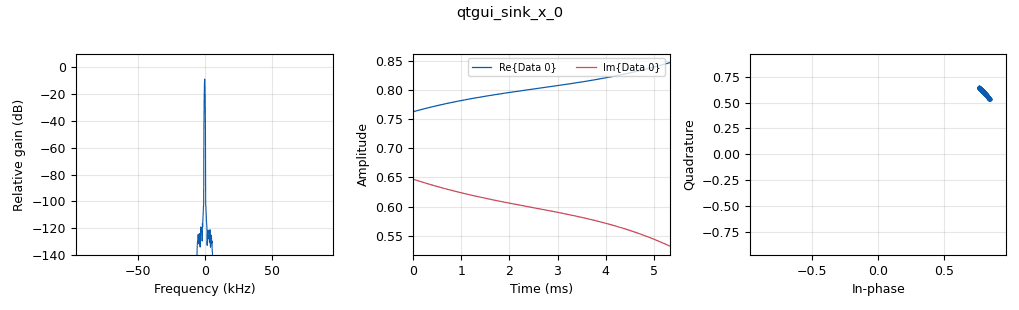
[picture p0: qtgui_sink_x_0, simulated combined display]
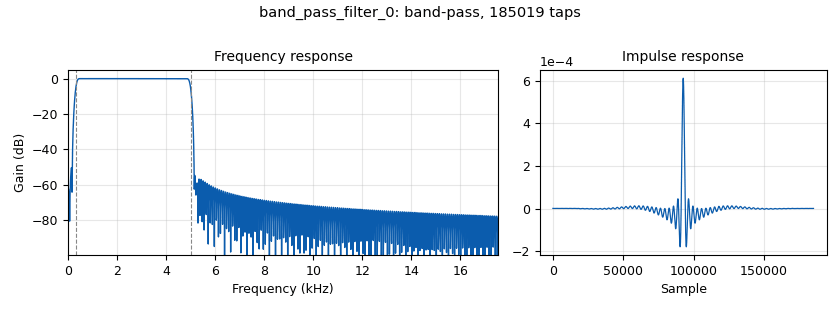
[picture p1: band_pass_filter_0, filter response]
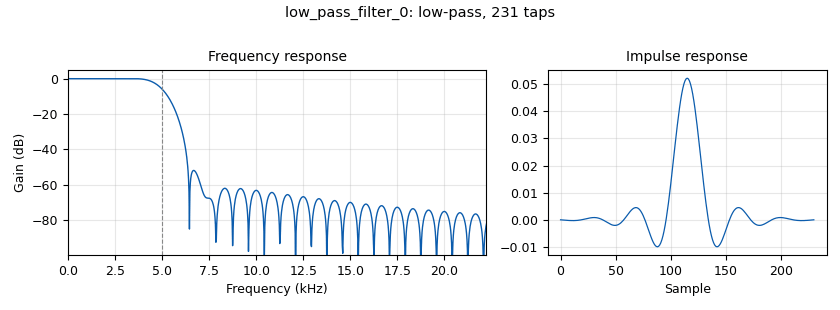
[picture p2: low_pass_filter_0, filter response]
options:
  parameters:
    description: NBFM transmitter
    generate_options: qt_gui
    id: NFM_xmt
    output_language: python
    title: NFM_xmt
  states: {}

blocks:
- name: freq
  id: variable
  parameters:
    value: '157650000'
  states: {}
- name: if_rate
  id: variable
  parameters:
    value: int(usrp_rate/3)
  states: {}
- name: pl_freq
  id: variable_qtgui_chooser
  parameters:
    label: PL Tone
    labels: '["0.0", "67.0", "71.9", "74.4", "77.0", "79.7", "82.5", "85.4", "88.5", "91.5", "94.8", "97.4", "100.0", "103.5", "107.2", "110.9", "114.8", "118.8", "123.0", "127.3", "131.8", "136.5", "141.3", "146.2", "151.4", "156.7", "162.2", "167.9", "173.8", "179.9", "186.2", "192.8", "203.5", "210.7", "218.1", "225.7", "233.6", "241.8", "250.3"]'
    num_opts: '0'
    options: '[0.0, 67.0, 71.9, 74.4, 77.0, 79.7, 82.5, 85.4, 88.5, 91.5, 94.8, 97.4, 100.0, 103.5, 107.2, 110.9, 114.8, 118.8, 123.0, 127.3, 131.8, 136.5, 141.3, 146.2, 151.4, 156.7, 162.2, 167.9, 173.8, 179.9, 186.2, 192.8, 203.5, 210.7, 218.1, 225.7, 233.6, 241.8, 250.3]'
    type: real
    value: '0.0'
  states: {}
- name: power
  id: variable_qtgui_range
  parameters:
    label: Xmt power
    start: '0'
    step: '1'
    stop: '66'
    value: '17'
  states: {}
- name: samp_rate
  id: variable
  parameters:
    value: '15360000'
  states: {}
- name: usrp_rate
  id: variable
  parameters:
    value: '576000'
  states: {}
- name: volume
  id: variable_qtgui_range
  parameters:
    label: Audio gain
    start: '0'
    step: '0.1'
    stop: '10.0'
    value: '5.0'
  states: {}
- name: analog_nbfm_tx_0
  id: analog_nbfm_tx
  parameters:
    audio_rate: samp_rate
    fh: '-1.0'
    max_dev: 5e3
    quad_rate: samp_rate
    tau: '75e-6'
  states: {}
- name: analog_noise_source_x_0
  id: analog_noise_source_x
  parameters:
    amp: '1'
    noise_type: analog.GR_GAUSSIAN
    seed: '0'
    type: float
  states: {}
- name: analog_sig_source_x_1
  id: analog_sig_source_x
  parameters:
    amp: '1'
    freq: '10000'
    offset: '0'
    phase: '0'
    samp_rate: samp_rate
    type: float
    waveform: analog.GR_COS_WAVE
  states: {state: disabled}
- name: audio_source_0
  id: audio_source
  parameters:
    ok_to_block: 'False'
    samp_rate: '48000'
  states: {state: disabled}
- name: band_pass_filter_0
  id: band_pass_filter
  parameters:
    decim: '1'
    gain: '1'
    high_cutoff_freq: '5000'
    low_cutoff_freq: '300'
    samp_rate: samp_rate
    type: fir_filter_fff
    width: '200'
    win: window.WIN_HAMMING
  states: {}
- name: blocks_multiply_const_vxx_0
  id: blocks_multiply_const_vxx
  parameters:
    comment: Audio gain
    const: volume
    type: float
  states: {}
- name: blocks_repeat_0_0
  id: blocks_repeat
  parameters:
    interp: (int)(usrp_rate/if_rate)
    type: complex
  states: {}
- name: low_pass_filter_0
  id: low_pass_filter
  parameters:
    cutoff_freq: '5000'
    decim: '1'
    gain: '1'
    samp_rate: if_rate
    type: fir_filter_ccf
    width: '2000'
    win: window.WIN_HAMMING
  states: {}
- name: qtgui_sink_x_0
  id: qtgui_sink_x
  parameters:
    bw: if_rate
    fc: '0'
    fftsize: '1024'
    showrf: 'True'
    type: complex
  states: {}
- name: soapy_bladerf_sink_0
  id: soapy_bladerf_sink
  parameters:
    bandwidth: '25000'
    center_freq: freq
    gain: power
    samp_rate: samp_rate
    type: fc32
  states: {}
- name: virtual_sink_0
  id: virtual_sink
  parameters:
    stream_id: tag1
  states: {}
- name: virtual_source_0
  id: virtual_source
  parameters:
    stream_id: tag1
  states: {}

connections:
- [analog_nbfm_tx_0, '0', virtual_sink_0, '0']
- [analog_noise_source_x_0, '0', band_pass_filter_0, '0']
- [band_pass_filter_0, '0', blocks_multiply_const_vxx_0, '0']
- [blocks_multiply_const_vxx_0, '0', analog_nbfm_tx_0, '0']
- [blocks_repeat_0_0, '0', soapy_bladerf_sink_0, '0']
- [low_pass_filter_0, '0', blocks_repeat_0_0, '0']
- [low_pass_filter_0, '0', qtgui_sink_x_0, '0']
- [virtual_source_0, '0', low_pass_filter_0, '0']

metadata:
  file_format: 1
